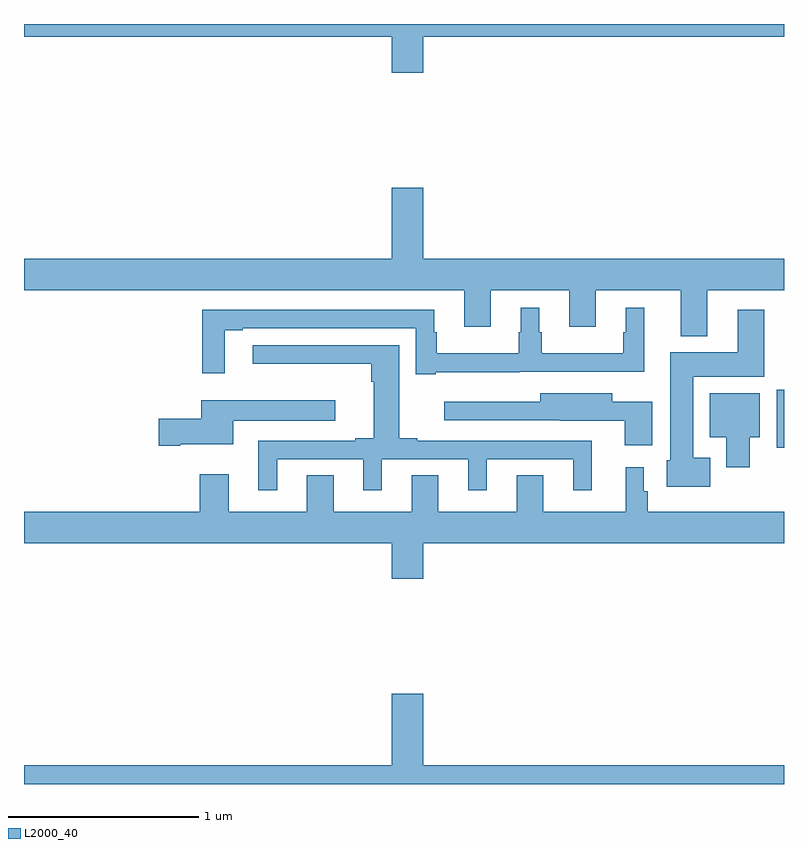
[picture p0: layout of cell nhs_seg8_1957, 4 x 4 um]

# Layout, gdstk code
import gdstk
lib = gdstk.Library(unit=1e-6, precision=1e-09)
def R(c, l, rs):  # rectangles x0, y0, x1, y1
    for r in rs: c.add(gdstk.rectangle(r[:2], r[2:], *l))
def P(c, l, *ps):  # polygons
    for p in ps: c.add(gdstk.Polygon(p, *l))
L2000_40 = (2000, 40)

nhs_seg8_1957 = lib.new_cell('nhs_seg8_1957')
R(nhs_seg8_1957, L2000_40, [(238.961,1115.669,239,1115.974)])
P(nhs_seg8_1957, L2000_40, [(237.1,1117.832),(239,1117.832),(239,1117.9),(235,1117.9),(235,1117.832),(236.936,1117.832),(236.936,1117.644),(237.1,1117.644)],
  [(238.597,1116.5),(239,1116.5),(239,1116.664),(237.1,1116.664),(237.1,1117.039),(236.936,1117.039),(236.936,1116.664),(235,1116.664),(235,1116.5),(237.317,1116.5),(237.317,1116.306),(237.457,1116.306),(237.457,1116.5),(237.869,1116.5),(237.869,1116.306),(238.009,1116.306),(238.009,1116.5),(238.457,1116.5),(238.457,1116.257),(238.597,1116.257)],
  [(237.166,1116.068),(237.608,1116.068),(237.608,1116.069),(238.264,1116.069),(238.264,1116.406),(238.166,1116.406),(238.166,1116.278),(238.155,1116.278),(238.155,1116.166),(237.724,1116.166),(237.724,1116.278),(237.712,1116.278),(237.712,1116.406),(237.614,1116.406),(237.614,1116.278),(237.603,1116.278),(237.603,1116.166),(237.172,1116.166),(237.172,1116.278),(237.16,1116.278),(237.16,1116.396),(235.939,1116.396),(235.939,1116.063),(236.056,1116.063),(236.056,1116.288),(236.152,1116.288),(236.152,1116.3),(237.063,1116.3),(237.063,1116.057),(237.166,1116.057)],
  [(238.612,1115.617),(238.522,1115.617),(238.522,1116.044),(238.897,1116.044),(238.897,1116.397),(238.757,1116.397),(238.757,1116.172),(238.4,1116.172),(238.4,1115.604),(238.382,1115.604),(238.382,1115.465),(238.612,1115.465)],
  [(236.332,1115.61),(236.786,1115.61),(236.786,1115.445),(236.884,1115.445),(236.884,1115.61),(237.338,1115.61),(237.338,1115.445),(237.436,1115.445),(237.436,1115.61),(237.89,1115.61),(237.89,1115.445),(237.989,1115.445),(237.989,1115.706),(237.07,1115.706),(237.07,1115.719),(236.974,1115.719),(236.974,1116.21),(236.205,1116.21),(236.205,1116.113),(236.828,1116.113),(236.828,1116.017),(236.84,1116.017),(236.84,1115.719),(236.744,1115.719),(236.744,1115.706),(236.234,1115.706),(236.234,1115.445),(236.332,1115.445)],
  [(238.819,1115.726),(238.873,1115.726),(238.873,1115.956),(238.61,1115.956),(238.61,1115.726),(238.697,1115.726),(238.697,1115.568),(238.819,1115.568)],
  [(238.306,1115.911),(238.096,1115.911),(238.096,1115.956),(237.716,1115.956),(237.716,1115.911),(237.213,1115.911),(237.213,1115.814),(237.82,1115.814),(237.82,1115.812),(238.163,1115.812),(238.163,1115.682),(238.306,1115.682)],
  [(235.822,1115.687),(236.101,1115.687),(236.101,1115.813),(236.638,1115.813),(236.638,1115.92),(235.934,1115.92),(235.934,1115.822),(235.71,1115.822),(235.71,1115.68),(235.822,1115.68)],
  [(237.1,1115.168),(239,1115.168),(239,1115.332),(238.283,1115.332),(238.283,1115.441),(238.263,1115.441),(238.263,1115.566),(238.166,1115.566),(238.166,1115.332),(237.733,1115.332),(237.733,1115.525),(237.593,1115.525),(237.593,1115.332),(237.181,1115.332),(237.181,1115.525),(237.041,1115.525),(237.041,1115.332),(236.629,1115.332),(236.629,1115.525),(236.489,1115.525),(236.489,1115.332),(236.077,1115.332),(236.077,1115.53),(235.925,1115.53),(235.925,1115.332),(235,1115.332),(235,1115.168),(236.936,1115.168),(236.936,1114.98),(237.1,1114.98)],
  [(239,1114),(237.1,1114),(237.1,1114.375),(236.936,1114.375),(236.936,1114),(235,1114),(235,1113.9),(239,1113.9)])

lib.write_gds('nhs_seg8_1957.gds')
